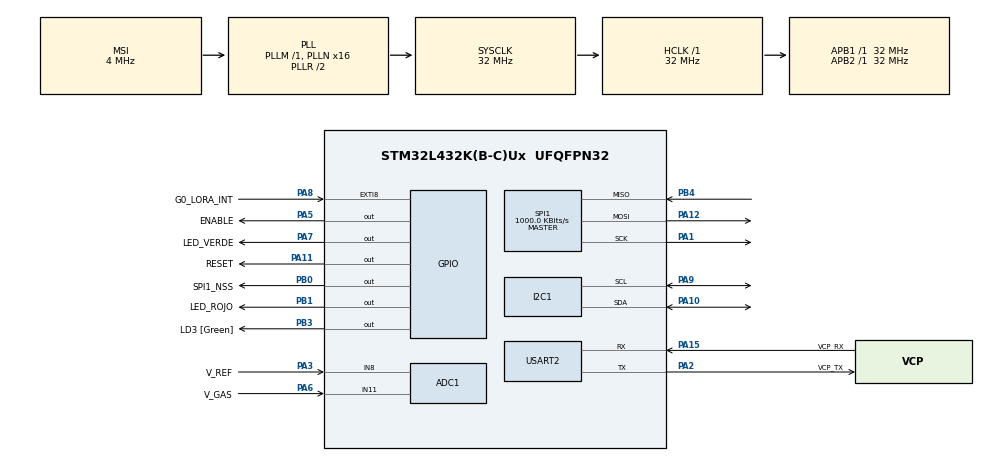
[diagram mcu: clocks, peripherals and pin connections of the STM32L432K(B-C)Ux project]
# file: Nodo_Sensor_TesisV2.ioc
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ADC1.Channel-11\#ChannelRegularConversion=ADC_CHANNEL_8
ADC1.Channel-7\#ChannelRegularConversion=ADC_CHANNEL_11
ADC1.ContinuousConvMode=ENABLE
ADC1.DMAContinuousRequests=DISABLE
ADC1.DiscontinuousConvMode=DISABLE
ADC1.NbrOfConversion=2
ADC1.NbrOfConversionFlag=1
ADC1.OffsetNumber-11\#ChannelRegularConversion=ADC_OFFSET_NONE
ADC1.Rank-11\#ChannelRegularConversion=2
ADC1.SamplingTime-11\#ChannelRegularConversion=ADC_SAMPLETIME_47CYCLES_5
ADC1.SamplingTime-7\#ChannelRegularConversion=ADC_SAMPLETIME_47CYCLES_5
ADC1.master=1
Dma.ADC1.0.Direction=DMA_PERIPH_TO_MEMORY
Dma.ADC1.0.Instance=DMA1_Channel1
Dma.ADC1.0.MemDataAlignment=DMA_MDATAALIGN_HALFWORD
Dma.ADC1.0.MemInc=DMA_MINC_ENABLE
Dma.ADC1.0.Mode=DMA_CIRCULAR
Dma.ADC1.0.PeriphDataAlignment=DMA_PDATAALIGN_HALFWORD
Dma.ADC1.0.PeriphInc=DMA_PINC_DISABLE
Dma.ADC1.0.Priority=DMA_PRIORITY_LOW
Dma.Request0=ADC1
I2C1.Timing=0x00707CBB
Mcu.Family=STM32L4
Mcu.Name=STM32L432K(B-C)Ux
Mcu.Package=UFQFPN32
NVIC.DMA1_Channel1_IRQn=true\:0\:0\:false\:false\:true\:false\:true\:true
NVIC.PriorityGroup=NVIC_PRIORITYGROUP_4
PA0.Mode=HSE-External-Clock-Source-for-LittleOrca
PA0.Signal=RCC_CK_IN
PA1.Mode=Full_Duplex_Master
PA1.Signal=SPI1_SCK
PA10.Mode=I2C
PA10.Signal=I2C1_SDA
PA11.GPIO_Label=RESET
PA11.PinState=GPIO_PIN_SET
PA11.Signal=GPIO_Output
PA12.Mode=Full_Duplex_Master
PA12.Signal=SPI1_MOSI
PA13\ (JTMS-SWDIO).GPIO_Label=SWDIO
PA13\ (JTMS-SWDIO).Mode=Serial_Wire
PA13\ (JTMS-SWDIO).Signal=SYS_JTMS-SWDIO
PA14\ (JTCK-SWCLK).GPIO_Label=SWCLK
PA14\ (JTCK-SWCLK).Mode=Serial_Wire
PA14\ (JTCK-SWCLK).Signal=SYS_JTCK-SWCLK
PA15\ (JTDI).GPIO_Label=VCP_RX
PA15\ (JTDI).Mode=Asynchronous
PA15\ (JTDI).Signal=USART2_RX
PA2.GPIO_Label=VCP_TX
PA2.Mode=Asynchronous
PA2.Signal=USART2_TX
PA3.GPIO_Label=V_REF
PA3.Signal=ADCx_IN8
PA5.GPIO_Label=ENABLE
PA5.PinState=GPIO_PIN_SET
PA5.Signal=GPIO_Output
PA6.GPIO_Label=V_GAS
PA6.Signal=ADCx_IN11
PA7.GPIO_Label=LED_VERDE
PA7.Signal=GPIO_Output
PA8.GPIO_Label=G0_LORA_INT
PA8.GPIO_ModeDefaultEXTI=GPIO_MODE_IT_RISING_FALLING
PA8.Signal=GPXTI8
PA9.Mode=I2C
PA9.Signal=I2C1_SCL
PB0.GPIO_Label=SPI1_NSS
PB0.PinState=GPIO_PIN_SET
PB0.Signal=GPIO_Output
PB1.GPIO_Label=LED_ROJO
PB1.Signal=GPIO_Output
PB3\ (JTDO-TRACESWO).GPIO_Label=LD3 [Green]
PB3\ (JTDO-TRACESWO).Signal=GPIO_Output
PB4\ (NJTRST).Mode=Full_Duplex_Master
PB4\ (NJTRST).Signal=SPI1_MISO
PC14-OSC32_IN\ (PC14).Mode=LSE-External-Oscillator
PC14-OSC32_IN\ (PC14).Signal=RCC_OSC32_IN
PC15-OSC32_OUT\ (PC15).Mode=LSE-External-Oscillator
PC15-OSC32_OUT\ (PC15).Signal=RCC_OSC32_OUT
ProjectManager.HeapSize=0x200
ProjectManager.StackSize=0x400
ProjectManager.TargetToolchain=STM32CubeIDE
RCC.ADCFreq_Value=32000000
RCC.AHBFreq_Value=32000000
RCC.APB1Freq_Value=32000000
RCC.APB1TimFreq_Value=32000000
RCC.APB2Freq_Value=32000000
RCC.APB2TimFreq_Value=32000000
RCC.CortexFreq_Value=32000000
RCC.HCLKFreq_Value=32000000
RCC.HSE_VALUE=8000000
RCC.HSI16_VALUE=16000000
RCC.HSI48_VALUE=48000000
RCC.HSI_VALUE=16000000
RCC.MSI_VALUE=4000000
RCC.PLLMUL=RCC_PLLMUL_4
RCC.PLLN=16
RCC.PLLSAI1N=16
RCC.SYSCLKFreq_VALUE=32000000
RCC.SYSCLKSource=RCC_SYSCLKSOURCE_PLLCLK
RCC.USBFreq_Value=32000000
RCC.VCOOutputFreq_Value=64000000
RTC.WakeUpClock=RTC_WAKEUPCLOCK_CK_SPRE_16BITS
RTC.WakeUpCounter=30
SH.ADCx_IN11.0=ADC1_IN11,IN11-Single-Ended
SH.ADCx_IN8.0=ADC1_IN8,IN8-Single-Ended
SPI1.BaudRatePrescaler=SPI_BAUDRATEPRESCALER_32
SPI1.CalculateBaudRate=1000.0 KBits/s
SPI1.DataSize=SPI_DATASIZE_8BIT
SPI1.Direction=SPI_DIRECTION_2LINES
SPI1.Mode=SPI_MODE_MASTER
SPI1.NSSPMode=SPI_NSS_PULSE_ENABLE
SPI1.VirtualType=VM_MASTER
USART2.VirtualMode-Asynchronous=VM_ASYNC
VP_RTC_VS_RTC_Activate.Mode=RTC_Enabled
VP_RTC_VS_RTC_WakeUp_intern.Mode=WakeUp
board=NUCLEO-L432KC

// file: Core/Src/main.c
/* USER CODE BEGIN Header */
/**
  ******************************************************************************
  * @file           : main.c
  * @brief          : Main program body
  ******************************************************************************
  * @attention
  *
  * Copyright (c) 2022 STMicroelectronics.
  * All rights reserved.
  *
  * This software is licensed under terms that can be found in the LICENSE file
  * in the root directory of this software component.
  * If no LICENSE file comes with this software, it is provided AS-IS.
  *
  ******************************************************************************
  */
/* USER CODE END Header */
#include "main.h"

/* USER CODE BEGIN Includes */
#include <stdbool.h>
#include <string.h>
#include <stdio.h>
#include "sht3x.h"
#include "rfm95.h"
/* USER CODE END Includes */

 ADC_HandleTypeDef hadc1;
DMA_HandleTypeDef hdma_adc1;

I2C_HandleTypeDef hi2c1;

RTC_HandleTypeDef hrtc;

SPI_HandleTypeDef hspi1;

UART_HandleTypeDef huart2;

/* USER CODE BEGIN PV */
//uint16_t temperatura, humedad, targetGas;
uint8_t uart_buf[65];
uint16_t monoxido;
uint8_t lora_buf[4]; //Cambio de uint16_t --> uint8_t
uint8_t temp, hum, verificador1, verificador2, enviado, monoxido_temp1, monoxido_temp2;
uint8_t V_OFFSET = 0;				// Cambiar en caso se requiera calibrar
uint16_t V_REF;
uint16_t V_GAS;
uint16_t value[2];
const float calibFactor = 1.90071;	// Calibration Factor -> SensitivityCode * TIAGain * 10^-9 * 10^3 -> 0.000406 -> ((1/0.000406)*(3.14/4096)) = 1.90071

sht3x_handle_t sht3x_handle = {
    .i2c_handle = &hi2c1,
    .device_address = SHT3X_I2C_DEVICE_ADDRESS_ADDR_PIN_LOW
};

rfm95_handle_t rfm95_handle = {
    .spi_handle = &hspi1,
    .nss_port = SPI1_NSS_GPIO_Port,
    .nss_pin = SPI1_NSS_Pin,
    .nrst_port = RESET_GPIO_Port,
    .nrst_pin = RESET_Pin,
    .irq_port = GPIOC,
    .irq_pin = G0_LORA_INT_Pin
};

//ulpsm_998_001_handle_t co_handle = {
		//.adc_handle = &hadc1
//};
/* USER CODE END PV */

void SystemClock_Config(void);
static void MX_GPIO_Init(void);
static void MX_USART2_UART_Init(void);
static void MX_I2C1_Init(void);
static void MX_RTC_Init(void);
static void MX_DMA_Init(void);
static void MX_ADC1_Init(void);
static void MX_SPI1_Init(void);
/* USER CODE BEGIN PFP */
void Sleep_Mode_Node(void);
void HAL_ADC_CHANNEL_11(void);
void HAL_ADC_CHANNEL_9(void);
bool CO(uint16_t *targetGas);
/* USER CODE END PFP */

int main(void)
{

  /* MCU Configuration--------------------------------------------------------*/

  /* Reset of all peripherals, Initializes the Flash interface and the Systick. */
  HAL_Init();

  /* Configure the system clock */
  SystemClock_Config();

  /* Initialize all configured peripherals */
  MX_GPIO_Init();
  MX_USART2_UART_Init();
  MX_I2C1_Init();
  MX_RTC_Init();
  MX_DMA_Init();
  MX_ADC1_Init();
  MX_SPI1_Init();
  /* USER CODE BEGIN 2 */
  do{
	  //Inicializar modulo LoRa
	  if(rfm95_init(&rfm95_handle)){
		  //sprintf((char*)uart_buf, "Modulo LoRa inicializado exitosamente\n\r");
		  //HAL_UART_Transmit(&huart2, uart_buf, strlen((char*)uart_buf), HAL_MAX_DELAY);
		  verificador1 = 1;
		  verificador2 = 1;
		  if(sht3x_init(&sht3x_handle)){
			  //Encender LED Verde
			  HAL_GPIO_WritePin(LED_VERDE_GPIO_Port, LED_VERDE_Pin, GPIO_PIN_SET);
			  //sprintf((char*)uart_buf, "Sensor de temperatura y humedad inicializado existosamente\n\r");
			  HAL_UART_Transmit(&huart2, uart_buf, strlen((char*)uart_buf), HAL_MAX_DELAY);
			  }
 	  }
 	  else{
 		  // Encender LED Rojo veces
 		  HAL_GPIO_WritePin(GPIOB, LED_ROJO_Pin, GPIO_PIN_SET);
 		  // Esperar 0.5 segundos
 		  HAL_Delay(1500);
 		  HAL_GPIO_WritePin(RESET_GPIO_Port, RESET_Pin, GPIO_PIN_RESET);
 		  // 0.1ms would theoretically be enough
 		  HAL_Delay(1);
 		  HAL_GPIO_WritePin(RESET_GPIO_Port, RESET_Pin, GPIO_PIN_SET);
 		  HAL_Delay(5);
 		  HAL_GPIO_WritePin(GPIOB, LED_ROJO_Pin, GPIO_PIN_RESET);
 	  }
   }
   while(!verificador1);

  /* Verificar si la bandera SB esta limpia */
  if (__HAL_PWR_GET_FLAG(PWR_FLAG_SB) != RESET)
  {
	  /* Limpiar la bandera PWR */
	  __HAL_PWR_CLEAR_FLAG(PWR_FLAG_SB);

	  /* Desactivar el timer por RTC */
	  HAL_RTCEx_DeactivateWakeUpTimer(&hrtc);
  }
  /* USER CODE END 2 */

  /* Infinite loop */
  /* USER CODE BEGIN WHILE */

  while (verificador2)
  {
	  // Lectura de temperatura y humedad
	  sht3x_read_temperature_and_humidity(&sht3x_handle, &lora_buf[0], &lora_buf[1]);

	  // Lectura del valor de CO
	  HAL_ADC_Start_DMA(&hadc1, (uint32_t*) value, 2);
	  CO(&monoxido);

	  monoxido_temp1 = monoxido >> 8;   //MSB
	  monoxido_temp2 = monoxido & 0xFF;	//LSB

	  lora_buf[2] = monoxido_temp1;
	  lora_buf[3] = monoxido_temp2;

	  //sprintf((char*)uart_buf, "Temperatura: %u C, Humedad: %u%% HR\n\r", lora_buf[0], lora_buf[1]);
	  //HAL_UART_Transmit(&huart2, uart_buf, strlen((char*)uart_buf), HAL_MAX_DELAY);

	  //sprintf((char*)uart_buf, "Particulas por Millon de CO %u PPM\n\r", monoxido);
	  //HAL_UART_Transmit(&huart2, uart_buf, strlen((char*)uart_buf), HAL_MAX_DELAY);

	  // Enviar temperatura
	  rfm95_send_package(&rfm95_handle, lora_buf, sizeof(lora_buf), enviado);
	  //sprintf((char*)uart_buf, "Envío correcto de datos\n\r");
	  //HAL_UART_Transmit(&huart2, uart_buf, strlen((char*)uart_buf), HAL_MAX_DELAY);

	  HAL_GPIO_WritePin(GPIOA, LED_VERDE_Pin, GPIO_PIN_RESET);

	  //HAL_Delay(1000);
	  Sleep_Mode_Node();
    /* USER CODE END WHILE */

  }
}

void SystemClock_Config(void)
{
  RCC_OscInitTypeDef RCC_OscInitStruct = {0};
  RCC_ClkInitTypeDef RCC_ClkInitStruct = {0};

  /** Configure the main internal regulator output voltage
  */
  if (HAL_PWREx_ControlVoltageScaling(PWR_REGULATOR_VOLTAGE_SCALE1) != HAL_OK)
  {
    Error_Handler();
  }

  /** Configure LSE Drive Capability
  */
  HAL_PWR_EnableBkUpAccess();
  __HAL_RCC_LSEDRIVE_CONFIG(RCC_LSEDRIVE_LOW);

  /** Initializes the RCC Oscillators according to the specified parameters
  * in the RCC_OscInitTypeDef structure.
  */
  RCC_OscInitStruct.OscillatorType = RCC_OSCILLATORTYPE_LSI|RCC_OSCILLATORTYPE_LSE
                              |RCC_OSCILLATORTYPE_MSI;
  RCC_OscInitStruct.LSEState = RCC_LSE_ON;
  RCC_OscInitStruct.LSIState = RCC_LSI_ON;
  RCC_OscInitStruct.MSIState = RCC_MSI_ON;
  RCC_OscInitStruct.MSICalibrationValue = 0;
  RCC_OscInitStruct.MSIClockRange = RCC_MSIRANGE_6;
  RCC_OscInitStruct.PLL.PLLState = RCC_PLL_ON;
  RCC_OscInitStruct.PLL.PLLSource = RCC_PLLSOURCE_MSI;
  RCC_OscInitStruct.PLL.PLLM = 1;
  RCC_OscInitStruct.PLL.PLLN = 16;
  RCC_OscInitStruct.PLL.PLLP = RCC_PLLP_DIV7;
  RCC_OscInitStruct.PLL.PLLQ = RCC_PLLQ_DIV2;
  RCC_OscInitStruct.PLL.PLLR = RCC_PLLR_DIV2;
  if (HAL_RCC_OscConfig(&RCC_OscInitStruct) != HAL_OK)
  {
    Error_Handler();
  }

  /** Initializes the CPU, AHB and APB buses clocks
  */
  RCC_ClkInitStruct.ClockType = RCC_CLOCKTYPE_HCLK|RCC_CLOCKTYPE_SYSCLK
                              |RCC_CLOCKTYPE_PCLK1|RCC_CLOCKTYPE_PCLK2;
  RCC_ClkInitStruct.SYSCLKSource = RCC_SYSCLKSOURCE_PLLCLK;
  RCC_ClkInitStruct.AHBCLKDivider = RCC_SYSCLK_DIV1;
  RCC_ClkInitStruct.APB1CLKDivider = RCC_HCLK_DIV1;
  RCC_ClkInitStruct.APB2CLKDivider = RCC_HCLK_DIV1;

  if (HAL_RCC_ClockConfig(&RCC_ClkInitStruct, FLASH_LATENCY_1) != HAL_OK)
  {
    Error_Handler();
  }

  /** Enable MSI Auto calibration
  */
  HAL_RCCEx_EnableMSIPLLMode();
}

static void MX_ADC1_Init(void)
{

  ADC_ChannelConfTypeDef sConfig = {0};

  /** Common config
  */
  hadc1.Instance = ADC1;
  hadc1.Init.ClockPrescaler = ADC_CLOCK_ASYNC_DIV1;
  hadc1.Init.Resolution = ADC_RESOLUTION_12B;
  hadc1.Init.DataAlign = ADC_DATAALIGN_RIGHT;
  hadc1.Init.ScanConvMode = ADC_SCAN_ENABLE;
  hadc1.Init.EOCSelection = ADC_EOC_SINGLE_CONV;
  hadc1.Init.LowPowerAutoWait = DISABLE;
  hadc1.Init.ContinuousConvMode = ENABLE;
  hadc1.Init.NbrOfConversion = 2;
  hadc1.Init.DiscontinuousConvMode = DISABLE;
  hadc1.Init.ExternalTrigConv = ADC_SOFTWARE_START;
  hadc1.Init.ExternalTrigConvEdge = ADC_EXTERNALTRIGCONVEDGE_NONE;
  hadc1.Init.DMAContinuousRequests = DISABLE;
  hadc1.Init.Overrun = ADC_OVR_DATA_PRESERVED;
  hadc1.Init.OversamplingMode = DISABLE;
  if (HAL_ADC_Init(&hadc1) != HAL_OK)
  {
    Error_Handler();
  }

  /** Configure Regular Channel
  */
  sConfig.Channel = ADC_CHANNEL_11;
  sConfig.Rank = ADC_REGULAR_RANK_1;
  sConfig.SamplingTime = ADC_SAMPLETIME_47CYCLES_5;
  sConfig.SingleDiff = ADC_SINGLE_ENDED;
  sConfig.OffsetNumber = ADC_OFFSET_NONE;
  sConfig.Offset = 0;
  if (HAL_ADC_ConfigChannel(&hadc1, &sConfig) != HAL_OK)
  {
    Error_Handler();
  }

  /** Configure Regular Channel
  */
  sConfig.Channel = ADC_CHANNEL_8;
  sConfig.Rank = ADC_REGULAR_RANK_2;
  if (HAL_ADC_ConfigChannel(&hadc1, &sConfig) != HAL_OK)
  {
    Error_Handler();
  }

}

static void MX_I2C1_Init(void)
{

  hi2c1.Instance = I2C1;
  hi2c1.Init.Timing = 0x00707CBB;
  hi2c1.Init.OwnAddress1 = 0;
  hi2c1.Init.AddressingMode = I2C_ADDRESSINGMODE_7BIT;
  hi2c1.Init.DualAddressMode = I2C_DUALADDRESS_DISABLE;
  hi2c1.Init.OwnAddress2 = 0;
  hi2c1.Init.OwnAddress2Masks = I2C_OA2_NOMASK;
  hi2c1.Init.GeneralCallMode = I2C_GENERALCALL_DISABLE;
  hi2c1.Init.NoStretchMode = I2C_NOSTRETCH_DISABLE;
  if (HAL_I2C_Init(&hi2c1) != HAL_OK)
  {
    Error_Handler();
  }

  /** Configure Analogue filter
  */
  if (HAL_I2CEx_ConfigAnalogFilter(&hi2c1, I2C_ANALOGFILTER_ENABLE) != HAL_OK)
  {
    Error_Handler();
  }

  /** Configure Digital filter
  */
  if (HAL_I2CEx_ConfigDigitalFilter(&hi2c1, 0) != HAL_OK)
  {
    Error_Handler();
  }

}

static void MX_RTC_Init(void)
{

  /** Initialize RTC Only
  */
  hrtc.Instance = RTC;
  hrtc.Init.HourFormat = RTC_HOURFORMAT_24;
  hrtc.Init.AsynchPrediv = 127;
  hrtc.Init.SynchPrediv = 255;
  hrtc.Init.OutPut = RTC_OUTPUT_DISABLE;
  hrtc.Init.OutPutRemap = RTC_OUTPUT_REMAP_NONE;
  hrtc.Init.OutPutPolarity = RTC_OUTPUT_POLARITY_HIGH;
  hrtc.Init.OutPutType = RTC_OUTPUT_TYPE_OPENDRAIN;
  if (HAL_RTC_Init(&hrtc) != HAL_OK)
  {
    Error_Handler();
  }

  /** Enable the WakeUp
  */
  if (HAL_RTCEx_SetWakeUpTimer(&hrtc, 30, RTC_WAKEUPCLOCK_CK_SPRE_16BITS) != HAL_OK)
  {
    Error_Handler();
  }

}

static void MX_SPI1_Init(void)
{

  /* SPI1 parameter configuration*/
  hspi1.Instance = SPI1;
  hspi1.Init.Mode = SPI_MODE_MASTER;
  hspi1.Init.Direction = SPI_DIRECTION_2LINES;
  hspi1.Init.DataSize = SPI_DATASIZE_8BIT;
  hspi1.Init.CLKPolarity = SPI_POLARITY_LOW;
  hspi1.Init.CLKPhase = SPI_PHASE_1EDGE;
  hspi1.Init.NSS = SPI_NSS_SOFT;
  hspi1.Init.BaudRatePrescaler = SPI_BAUDRATEPRESCALER_32;
  hspi1.Init.FirstBit = SPI_FIRSTBIT_MSB;
  hspi1.Init.TIMode = SPI_TIMODE_DISABLE;
  hspi1.Init.CRCCalculation = SPI_CRCCALCULATION_DISABLE;
  hspi1.Init.CRCPolynomial = 7;
  hspi1.Init.CRCLength = SPI_CRC_LENGTH_DATASIZE;
  hspi1.Init.NSSPMode = SPI_NSS_PULSE_ENABLE;
  if (HAL_SPI_Init(&hspi1) != HAL_OK)
  {
    Error_Handler();
  }

}

static void MX_USART2_UART_Init(void)
{

  huart2.Instance = USART2;
  huart2.Init.BaudRate = 115200;
  huart2.Init.WordLength = UART_WORDLENGTH_8B;
  huart2.Init.StopBits = UART_STOPBITS_1;
  huart2.Init.Parity = UART_PARITY_NONE;
  huart2.Init.Mode = UART_MODE_TX_RX;
  huart2.Init.HwFlowCtl = UART_HWCONTROL_NONE;
  huart2.Init.OverSampling = UART_OVERSAMPLING_16;
  huart2.Init.OneBitSampling = UART_ONE_BIT_SAMPLE_DISABLE;
  huart2.AdvancedInit.AdvFeatureInit = UART_ADVFEATURE_NO_INIT;
  if (HAL_UART_Init(&huart2) != HAL_OK)
  {
    Error_Handler();
  }

}

static void MX_DMA_Init(void)
{

  /* DMA controller clock enable */
  __HAL_RCC_DMA1_CLK_ENABLE();

  /* DMA interrupt init */
  /* DMA1_Channel1_IRQn interrupt configuration */
  HAL_NVIC_SetPriority(DMA1_Channel1_IRQn, 0, 0);
  HAL_NVIC_EnableIRQ(DMA1_Channel1_IRQn);

}

static void MX_GPIO_Init(void)
{
  GPIO_InitTypeDef GPIO_InitStruct = {0};

  /* GPIO Ports Clock Enable */
  __HAL_RCC_GPIOC_CLK_ENABLE();
  __HAL_RCC_GPIOA_CLK_ENABLE();
  __HAL_RCC_GPIOB_CLK_ENABLE();

  /*Configure GPIO pin Output Level */
  HAL_GPIO_WritePin(GPIOA, ENABLE_Pin|RESET_Pin, GPIO_PIN_SET);

  /*Configure GPIO pin Output Level */
  HAL_GPIO_WritePin(LED_VERDE_GPIO_Port, LED_VERDE_Pin, GPIO_PIN_RESET);

  /*Configure GPIO pin Output Level */
  HAL_GPIO_WritePin(SPI1_NSS_GPIO_Port, SPI1_NSS_Pin, GPIO_PIN_SET);

  /*Configure GPIO pin Output Level */
  HAL_GPIO_WritePin(GPIOB, LED_ROJO_Pin|LD3_Pin, GPIO_PIN_RESET);

  /*Configure GPIO pins : ENABLE_Pin LED_VERDE_Pin RESET_Pin */
  GPIO_InitStruct.Pin = ENABLE_Pin|LED_VERDE_Pin|RESET_Pin;
  GPIO_InitStruct.Mode = GPIO_MODE_OUTPUT_PP;
  GPIO_InitStruct.Pull = GPIO_NOPULL;
  GPIO_InitStruct.Speed = GPIO_SPEED_FREQ_LOW;
  HAL_GPIO_Init(GPIOA, &GPIO_InitStruct);

  /*Configure GPIO pins : SPI1_NSS_Pin LED_ROJO_Pin LD3_Pin */
  GPIO_InitStruct.Pin = SPI1_NSS_Pin|LED_ROJO_Pin|LD3_Pin;
  GPIO_InitStruct.Mode = GPIO_MODE_OUTPUT_PP;
  GPIO_InitStruct.Pull = GPIO_NOPULL;
  GPIO_InitStruct.Speed = GPIO_SPEED_FREQ_LOW;
  HAL_GPIO_Init(GPIOB, &GPIO_InitStruct);

  /*Configure GPIO pin : G0_LORA_INT_Pin */
  GPIO_InitStruct.Pin = G0_LORA_INT_Pin;
  GPIO_InitStruct.Mode = GPIO_MODE_IT_RISING_FALLING;
  GPIO_InitStruct.Pull = GPIO_NOPULL;
  HAL_GPIO_Init(G0_LORA_INT_GPIO_Port, &GPIO_InitStruct);

}

/* USER CODE BEGIN 4 */
void Sleep_Mode_Node(void){
	//Abrir el circuito del transistor (LoRa enable)
	HAL_GPIO_WritePin(ENABLE_GPIO_Port, ENABLE_Pin, GPIO_PIN_RESET);

	/* Limpiar la bandera WU */
	__HAL_PWR_CLEAR_FLAG(PWR_FLAG_WU);

	/* Limpiar la bandera de WUTF */
	__HAL_RTC_WAKEUPTIMER_CLEAR_FLAG(&hrtc, RTC_FLAG_WUTF);

	/* Activar la interrupcion por RTC */
	if(HAL_RTCEx_SetWakeUpTimer_IT(&hrtc, 5, RTC_WAKEUPCLOCK_CK_SPRE_16BITS) != HAL_OK){
	  Error_Handler();
	}

	/* Enviar el comando Sleep al modulo LoRa */
	//sprintf((char*)uart_buf, "Entrando en modo Stand-By por 30 segundos\n\r");
	//HAL_UART_Transmit(&huart2, uart_buf, strlen((char*)uart_buf), HAL_MAX_DELAY);

	/* Entrar a modo Stand-By */
	HAL_PWR_EnterSTANDBYMode();
}

bool CO(uint16_t *targetGas){

	// Encender el ADC1_CHANNEL_11
	//HAL_ADC_CHANNEL_11();
	// Obtener el valor de Vref
	V_GAS = value[0]; // Channel 11
	V_REF = value[1]; // Channel 8
	//HAL_ADC_Stop(&hadc1);

	//float V_REF_TEMP = 0;
	//float V_GAS_TEMP = 0;

	//V_REF_TEMP = (3.1/2048)*V_REF;
	//V_GAS_TEMP = (3.1/2048)*V_GAS;
	// Encender el ADC1_CHANNEL_9
	//HAL_ADC_CHANNEL_9();
	//HAL_ADC_Start(&hadc1);
	//HAL_ADC_PollForConversion(&hadc1, HAL_MAX_DELAY);
	// Obtener el valor de Vgas
	//V_GAS = HAL_ADC_GetValue(&hadc1); // Channel 9

	// Obtener el valor del gas segun el calculo del datasheet
	*targetGas = calibFactor*(V_GAS - (V_REF + V_OFFSET)); // Cx = 1/M * (Vgas - (Vref + Voffset))
	// Terminar la lectura del ADC para no desperdiciar recursos
	//HAL_ADC_Stop(&hadc1);
	HAL_ADC_Stop_DMA(&hadc1);

	return true;
}

/*
void HAL_ADC_CHANNEL_11(void){
	ADC_ChannelConfTypeDef sConfig = {0};
	sConfig.Channel = ADC_CHANNEL_11;
	sConfig.Rank = 1;
	sConfig.SamplingTime = ADC_SAMPLETIME_640CYCLES_5;
	sConfig.SingleDiff = ADC_SINGLE_ENDED;
	sConfig.OffsetNumber = ADC_OFFSET_NONE;
	sConfig.Offset = 0;
	if (HAL_ADC_ConfigChannel(&hadc1, &sConfig) != HAL_OK)
	{
	  Error_Handler();
	}
}

void HAL_ADC_CHANNEL_9(void){
	ADC_ChannelConfTypeDef sConfig = {0};
	sConfig.Channel = ADC_CHANNEL_9;
	sConfig.Rank = 1;
	sConfig.SamplingTime = ADC_SAMPLETIME_2CYCLES_5;
	sConfig.SingleDiff = ADC_SINGLE_ENDED;
	sConfig.OffsetNumber = ADC_OFFSET_NONE;
	sConfig.Offset = 0;
	if (HAL_ADC_ConfigChannel(&hadc1, &sConfig) != HAL_OK)
	{
	  Error_Handler();
	}
}
*/
/* USER CODE END 4 */

void Error_Handler(void)
{
  __disable_irq();
  while (1)
  {
  }
}
